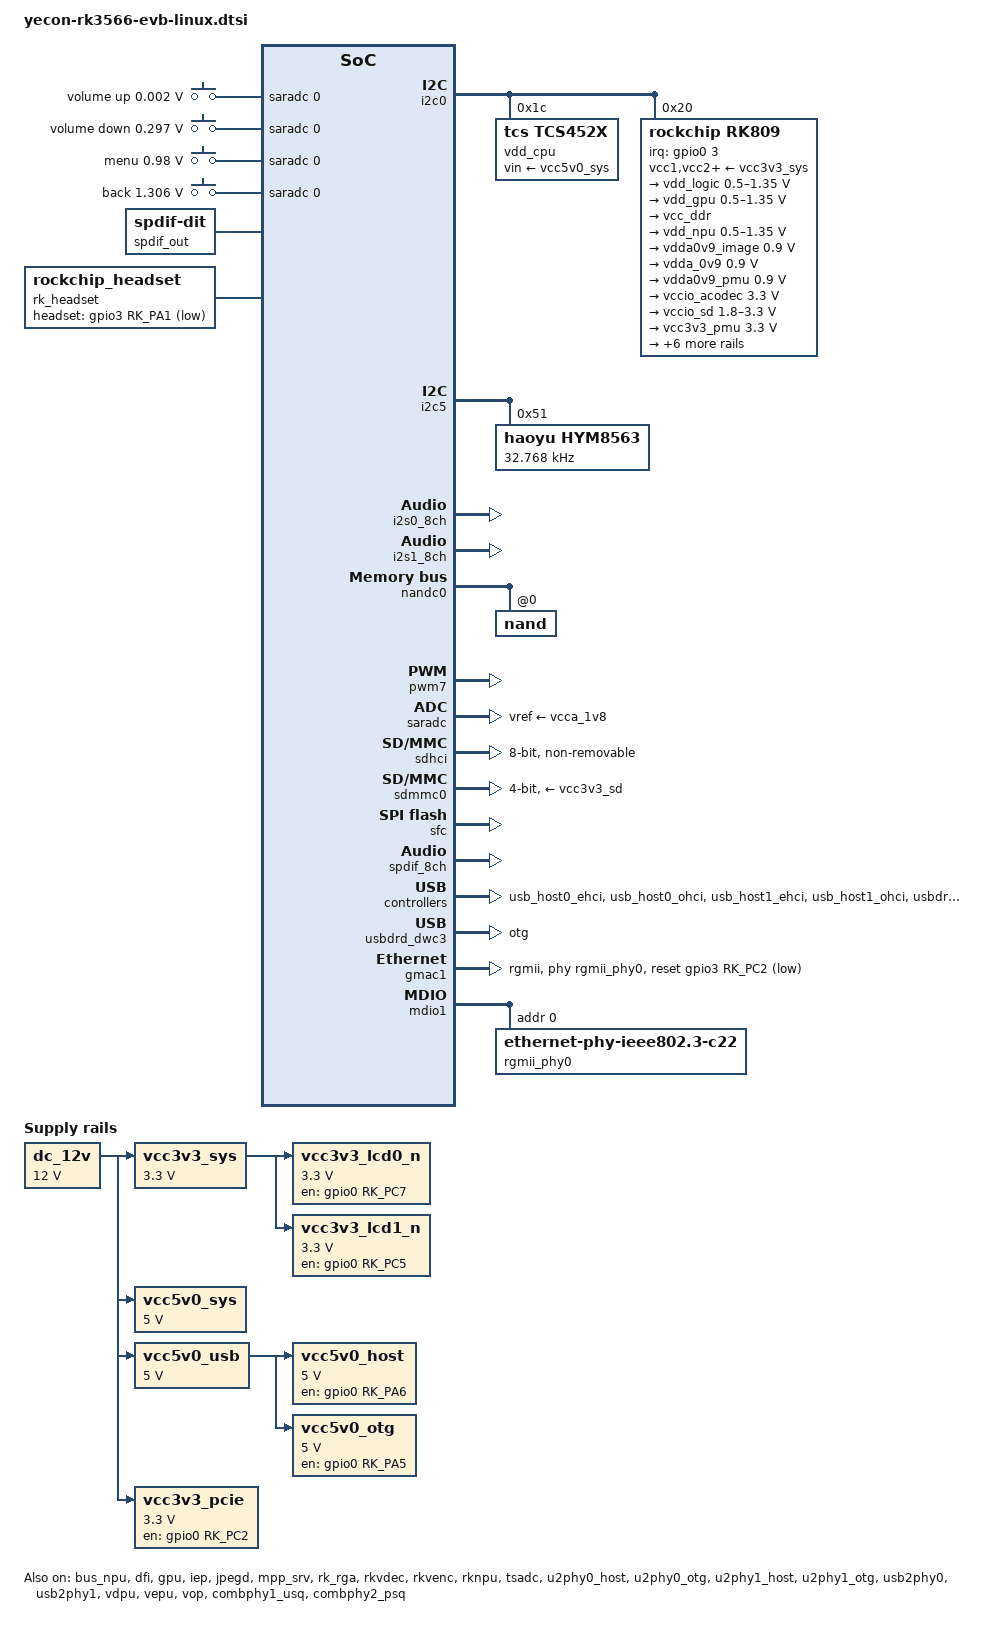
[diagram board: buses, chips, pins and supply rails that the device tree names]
// SPDX-License-Identifier: (GPL-2.0+ OR MIT)
/*
 * Copyright (c) 2020 Rockchip Electronics Co., Ltd.
 *
 */

#include <dt-bindings/gpio/gpio.h>
#include <dt-bindings/pwm/pwm.h>
#include <dt-bindings/pinctrl/rockchip.h>
#include <dt-bindings/input/rk-input.h>
#include <dt-bindings/display/drm_mipi_dsi.h>
#include <dt-bindings/display/media-bus-format.h>
#include <dt-bindings/sensor-dev.h>

/ {
    adc_keys: adc-keys {
		compatible = "adc-keys";
		io-channels = <&saradc 0>;
		io-channel-names = "buttons";
		keyup-threshold-microvolt = <1800000>;
		poll-interval = <100>;

		vol-up-key {
			label = "volume up";
			linux,code = <KEY_VOLUMEUP>;
			press-threshold-microvolt = <1750>;
		};

		vol-down-key {
			label = "volume down";
			linux,code = <KEY_VOLUMEDOWN>;
			press-threshold-microvolt = <297500>;
		};

		menu-key {
			label = "menu";
			linux,code = <KEY_MENU>;
			press-threshold-microvolt = <980000>;
		};

		back-key {
			label = "back";
			linux,code = <KEY_BACK>;
			press-threshold-microvolt = <1305500>;
		};
	};

	dc_12v: dc-12v {
		compatible = "regulator-fixed";
		regulator-name = "dc_12v";
		regulator-always-on;
		regulator-boot-on;
		regulator-min-microvolt = <12000000>;
		regulator-max-microvolt = <12000000>;
	};

	hdmi_sound: hdmi-sound {
		compatible = "simple-audio-card";
		simple-audio-card,format = "i2s";
		simple-audio-card,mclk-fs = <128>;
		simple-audio-card,name = "rockchip,hdmi";
		status = "disabled";

		simple-audio-card,cpu {
				sound-dai = <&i2s0_8ch>;
		};
		simple-audio-card,codec {
				sound-dai = <&hdmi>;
		};
	};

	pdmics: dummy-codec {
		status = "disabled";
		compatible = "rockchip,dummy-codec";
		#sound-dai-cells = <0>;
	};

	pdm_mic_array: pdm-mic-array {
		status = "disabled";
		compatible = "simple-audio-card";
		simple-audio-card,name = "rockchip,pdm-mic-array";
		simple-audio-card,cpu {
			sound-dai = <&pdm>;
		};
		simple-audio-card,codec {
			sound-dai = <&pdmics>;
		};
	};

	rk809_sound: rk809-sound {
		status = "okay";
		compatible = "simple-audio-card";
		simple-audio-card,format = "i2s";
		simple-audio-card,name = "rockchip,rk809-codec";
		simple-audio-card,mclk-fs = <256>;

		simple-audio-card,cpu {
			sound-dai = <&i2s1_8ch>;
		};
		simple-audio-card,codec {
			sound-dai = <&rk809_codec>;
		};
	};

	spdif-sound {
		status = "okay";
		compatible = "simple-audio-card";
		simple-audio-card,name = "ROCKCHIP,SPDIF";
		simple-audio-card,cpu {
				sound-dai = <&spdif_8ch>;
		};
		simple-audio-card,codec {
				sound-dai = <&spdif_out>;
		};
	};

	spdif_out: spdif-out {
		status = "okay";
		compatible = "linux,spdif-dit";
		#sound-dai-cells = <0>;
	};

	vad_sound: vad-sound {
		status = "disabled";
		compatible = "rockchip,multicodecs-card";
		rockchip,card-name = "rockchip,rk3568-vad";
		rockchip,cpu = <&i2s1_8ch>;
		rockchip,codec = <&rk809_codec>, <&vad>;
	};

	vcc3v3_sys: vcc3v3-sys {
		compatible = "regulator-fixed";
		regulator-name = "vcc3v3_sys";
		regulator-always-on;
		regulator-boot-on;
		regulator-min-microvolt = <3300000>;
		regulator-max-microvolt = <3300000>;
		vin-supply = <&dc_12v>;
	};

	vcc5v0_sys: vcc5v0-sys {
		compatible = "regulator-fixed";
		regulator-name = "vcc5v0_sys";
		regulator-always-on;
		regulator-boot-on;
		regulator-min-microvolt = <5000000>;
		regulator-max-microvolt = <5000000>;
		vin-supply = <&dc_12v>;
	};

	vcc5v0_usb: vcc5v0-usb {
		compatible = "regulator-fixed";
		regulator-name = "vcc5v0_usb";
		regulator-always-on;
		regulator-boot-on;
		regulator-min-microvolt = <5000000>;
		regulator-max-microvolt = <5000000>;
		vin-supply = <&dc_12v>;
	};

	vcc5v0_host: vcc5v0-host-regulator {
		compatible = "regulator-fixed";
		regulator-name = "vcc5v0_host";
		regulator-boot-on;
		regulator-always-on;
		regulator-min-microvolt = <5000000>;
		regulator-max-microvolt = <5000000>;
		enable-active-high;
		gpio = <&gpio0 RK_PA6 GPIO_ACTIVE_HIGH>;
		vin-supply = <&vcc5v0_usb>;
		pinctrl-names = "default";
		pinctrl-0 = <&vcc5v0_host_en>;
	};

	vcc5v0_otg: vcc5v0-otg-regulator {
		compatible = "regulator-fixed";
		regulator-name = "vcc5v0_otg";
		regulator-min-microvolt = <5000000>;
		regulator-max-microvolt = <5000000>;
		enable-active-high;
		gpio = <&gpio0 RK_PA5 GPIO_ACTIVE_HIGH>;
		vin-supply = <&vcc5v0_usb>;
		pinctrl-names = "default";
		pinctrl-0 = <&vcc5v0_otg_en>;
	};

	vcc3v3_lcd0_n: vcc3v3-lcd0-n {
		compatible = "regulator-fixed";
		regulator-name = "vcc3v3_lcd0_n";
		regulator-boot-on;
		regulator-min-microvolt = <3300000>;
		regulator-max-microvolt = <3300000>;
		enable-active-high;
		gpio = <&gpio0 RK_PC7 GPIO_ACTIVE_HIGH>;
		vin-supply = <&vcc3v3_sys>;

		regulator-state-mem {
			regulator-off-in-suspend;
		};
	};

	vcc3v3_lcd1_n: vcc3v3-lcd1-n {
		compatible = "regulator-fixed";
		regulator-name = "vcc3v3_lcd1_n";
		regulator-boot-on;
		regulator-min-microvolt = <3300000>;
		regulator-max-microvolt = <3300000>;
		enable-active-high;
		gpio = <&gpio0 RK_PC5 GPIO_ACTIVE_HIGH>;
		vin-supply = <&vcc3v3_sys>;

		regulator-state-mem {
			regulator-off-in-suspend;
		};
	};

	vcc3v3_pcie: vcc3v3-pcie {
		compatible = "regulator-fixed";
		regulator-name = "vcc3v3_pcie";
		regulator-min-microvolt = <3300000>;
		regulator-max-microvolt = <3300000>;
		enable-active-high;
		gpio = <&gpio0 RK_PC2 GPIO_ACTIVE_HIGH>;
		startup-delay-us = <5000>;
		vin-supply = <&dc_12v>;
	};

	rk_headset: rk-headset {
		compatible = "rockchip_headset";
		headset_gpio = <&gpio3 RK_PA1 GPIO_ACTIVE_LOW>;
		pinctrl-names = "default";
		pinctrl-0 = <&hp_det>;
	};
};

&bus_npu {
	bus-supply = <&vdd_logic>;
	pvtm-supply = <&vdd_cpu>;
	status = "okay";
};

&cpu0 {
	cpu-supply = <&vdd_cpu>;
};

/* ddr */
&dmc {
	system-status-freq = <
		/*system status         freq(KHz)*/
		SYS_STATUS_NORMAL       780000
		SYS_STATUS_REBOOT       1056000
		SYS_STATUS_SUSPEND      324000
		SYS_STATUS_VIDEO_1080P  528000
		SYS_STATUS_BOOST        1056000
		SYS_STATUS_ISP          1056000
		SYS_STATUS_PERFORMANCE  1056000
	>;
};

&dmc_opp_table {
	opp-1056000000 {
		opp-hz = /bits/ 64 <1056000000>;
		opp-microvolt = <900000>;
		opp-microvolt-L0 = <900000>;
		opp-microvolt-L1 = <850000>;
	};
	/delete-node/ opp-1560000000;
};

&dmc {
	center-supply = <&vdd_logic>;
	status = "disabled";
};

&dfi {
	status = "okay";
};

&gpu {
	mali-supply = <&vdd_gpu>;
	status = "okay";
};

&i2c0 {
	status = "okay";

	vdd_cpu: tcs4525@1c {
		compatible = "tcs,tcs452x";
		reg = <0x1c>;
		vin-supply = <&vcc5v0_sys>;
		regulator-compatible = "fan53555-reg";
		regulator-name = "vdd_cpu";
		regulator-min-microvolt = <712500>;
		regulator-max-microvolt = <1390000>;
		regulator-init-microvolt = <900000>;
		regulator-ramp-delay = <2300>;
		fcs,suspend-voltage-selector = <1>;
		regulator-boot-on;
		regulator-always-on;
		regulator-state-mem {
			regulator-off-in-suspend;
		};
	};

	rk809: pmic@20 {
		compatible = "rockchip,rk809";
		reg = <0x20>;
		interrupt-parent = <&gpio0>;
		interrupts = <3 IRQ_TYPE_LEVEL_LOW>;

		pinctrl-names = "default", "pmic-sleep",
				"pmic-power-off", "pmic-reset";
		pinctrl-0 = <&pmic_int>;
		pinctrl-1 = <&soc_slppin_slp>, <&rk817_slppin_slp>;
		pinctrl-2 = <&soc_slppin_gpio>, <&rk817_slppin_pwrdn>;
		pinctrl-3 = <&soc_slppin_gpio>, <&rk817_slppin_rst>;

		rockchip,system-power-controller;
		wakeup-source;
		#clock-cells = <1>;
		clock-output-names = "rk808-clkout1", "rk808-clkout2";
		//fb-inner-reg-idxs = <2>;
		/* 1: rst regs (default in codes), 0: rst the pmic */
		pmic-reset-func = <0>;
		/* not save the PMIC_POWER_EN register in uboot */
		not-save-power-en = <1>;

		vcc1-supply = <&vcc3v3_sys>;
		vcc2-supply = <&vcc3v3_sys>;
		vcc3-supply = <&vcc3v3_sys>;
		vcc4-supply = <&vcc3v3_sys>;
		vcc5-supply = <&vcc3v3_sys>;
		vcc6-supply = <&vcc3v3_sys>;
		vcc7-supply = <&vcc3v3_sys>;
		vcc8-supply = <&vcc3v3_sys>;
		vcc9-supply = <&vcc3v3_sys>;

		pwrkey {
			status = "okay";
		};

		pinctrl_rk8xx: pinctrl_rk8xx {
			gpio-controller;
			#gpio-cells = <2>;

			rk817_slppin_null: rk817_slppin_null {
				pins = "gpio_slp";
				function = "pin_fun0";
			};

			rk817_slppin_slp: rk817_slppin_slp {
				pins = "gpio_slp";
				function = "pin_fun1";
			};

			rk817_slppin_pwrdn: rk817_slppin_pwrdn {
				pins = "gpio_slp";
				function = "pin_fun2";
			};

			rk817_slppin_rst: rk817_slppin_rst {
				pins = "gpio_slp";
				function = "pin_fun3";
			};
		};

		regulators {
			vdd_logic: DCDC_REG1 {
				regulator-always-on;
				regulator-boot-on;
				regulator-min-microvolt = <500000>;
				regulator-max-microvolt = <1350000>;
				regulator-init-microvolt = <900000>;
				regulator-ramp-delay = <6001>;
				regulator-initial-mode = <0x2>;
				regulator-name = "vdd_logic";
				regulator-state-mem {
					regulator-off-in-suspend;
				};
			};

			vdd_gpu: DCDC_REG2 {
				regulator-always-on;
				regulator-boot-on;
				regulator-min-microvolt = <500000>;
				regulator-max-microvolt = <1350000>;
				regulator-init-microvolt = <900000>;
				regulator-ramp-delay = <6001>;
				regulator-initial-mode = <0x2>;
				regulator-name = "vdd_gpu";
				regulator-state-mem {
					regulator-off-in-suspend;
				};
			};

			vcc_ddr: DCDC_REG3 {
				regulator-always-on;
				regulator-boot-on;
				regulator-initial-mode = <0x2>;
				regulator-name = "vcc_ddr";
				regulator-state-mem {
					regulator-on-in-suspend;
				};
			};

			vdd_npu: DCDC_REG4 {
				regulator-always-on;
				regulator-boot-on;
				regulator-min-microvolt = <500000>;
				regulator-max-microvolt = <1350000>;
				regulator-init-microvolt = <900000>;
				regulator-ramp-delay = <6001>;
				regulator-initial-mode = <0x2>;
				regulator-name = "vdd_npu";
				regulator-state-mem {
					regulator-off-in-suspend;
				};
			};

			vdda0v9_image: LDO_REG1 {
				regulator-boot-on;
				regulator-always-on;
				regulator-min-microvolt = <900000>;
				regulator-max-microvolt = <900000>;
				regulator-name = "vdda0v9_image";
				regulator-state-mem {
					regulator-off-in-suspend;
				};
			};

			vdda_0v9: LDO_REG2 {
				regulator-always-on;
				regulator-boot-on;
				regulator-min-microvolt = <900000>;
				regulator-max-microvolt = <900000>;
				regulator-name = "vdda_0v9";
				regulator-state-mem {
					regulator-off-in-suspend;
				};
			};

			vdda0v9_pmu: LDO_REG3 {
				regulator-always-on;
				regulator-boot-on;
				regulator-min-microvolt = <900000>;
				regulator-max-microvolt = <900000>;
				regulator-name = "vdda0v9_pmu";
				regulator-state-mem {
					regulator-on-in-suspend;
					regulator-suspend-microvolt = <900000>;
				};
			};

			vccio_acodec: LDO_REG4 {
				regulator-always-on;
				regulator-boot-on;
				regulator-min-microvolt = <3300000>;
				regulator-max-microvolt = <3300000>;
				regulator-name = "vccio_acodec";
				regulator-state-mem {
					regulator-off-in-suspend;
				};
			};

			vccio_sd: LDO_REG5 {
				regulator-always-on;
				regulator-boot-on;
				regulator-min-microvolt = <1800000>;
				regulator-max-microvolt = <3300000>;
				regulator-name = "vccio_sd";
				regulator-state-mem {
					regulator-off-in-suspend;
				};
			};

			vcc3v3_pmu: LDO_REG6 {
				regulator-always-on;
				regulator-boot-on;
				regulator-min-microvolt = <3300000>;
				regulator-max-microvolt = <3300000>;
				regulator-name = "vcc3v3_pmu";
				regulator-state-mem {
					regulator-on-in-suspend;
					regulator-suspend-microvolt = <3300000>;
				};
			};

			vcca_1v8: LDO_REG7 {
				regulator-always-on;
				regulator-boot-on;
				regulator-min-microvolt = <1800000>;
				regulator-max-microvolt = <1800000>;
				regulator-name = "vcca_1v8";
				regulator-state-mem {
					regulator-off-in-suspend;
				};
			};

			vcca1v8_pmu: LDO_REG8 {
				regulator-always-on;
				regulator-boot-on;
				regulator-min-microvolt = <1800000>;
				regulator-max-microvolt = <1800000>;
				regulator-name = "vcca1v8_pmu";
				regulator-state-mem {
					regulator-on-in-suspend;
					regulator-suspend-microvolt = <1800000>;
				};
			};

			vcca1v8_image: LDO_REG9 {
				regulator-always-on;
				regulator-boot-on;
				regulator-min-microvolt = <1800000>;
				regulator-max-microvolt = <1800000>;
				regulator-name = "vcca1v8_image";
				regulator-state-mem {
					regulator-off-in-suspend;
				};
			};

			vcc_1v8: DCDC_REG5 {
				regulator-always-on;
				regulator-boot-on;
				regulator-min-microvolt = <1800000>;
				regulator-max-microvolt = <1800000>;
				regulator-name = "vcc_1v8";
				regulator-state-mem {
					regulator-off-in-suspend;
				};
			};

			vcc_3v3: SWITCH_REG1 {
				regulator-always-on;
				regulator-boot-on;
				regulator-name = "vcc_3v3";
				regulator-state-mem {
					regulator-off-in-suspend;
				};
			};

			vcc3v3_sd: SWITCH_REG2 {
				regulator-always-on;
				regulator-boot-on;
				regulator-name = "vcc3v3_sd";
				regulator-state-mem {
					regulator-off-in-suspend;
				};
			};
		};

		rk809_codec: codec {
			#sound-dai-cells = <0>;
			compatible = "rockchip,rk809-codec", "rockchip,rk817-codec";
			clocks = <&cru I2S1_MCLKOUT>;
			clock-names = "mclk";
			assigned-clocks = <&cru I2S1_MCLKOUT>, <&cru I2S1_MCLK_TX_IOE>;
			assigned-clock-rates = <12288000>;
			assigned-clock-parents = <&cru I2S1_MCLKOUT_TX>, <&cru I2S1_MCLKOUT_TX>;
			//spk-ctl-gpios = <&gpio2 RK_PC1 GPIO_ACTIVE_HIGH>;
			pinctrl-names = "default";
			pinctrl-0 = <&i2s1m0_mclk>;
			hp-volume = <20>;
			spk-volume = <3>;
			mic-in-differential;
			status = "okay";
		};
	};
};

&i2c5 {
	status = "okay";

	psensor: vl53l0x@29 {
		status = "disabled";
		compatible = "ps_vl53l0x";
		reg = <0x29>;
		type = <SENSOR_TYPE_PROXIMITY>;
		//reset-gpio = <&gpio2 RK_PA4 GPIO_ACTIVE_HIGH>;
		//irq-gpio = <&gpio3 2 IRQ_TYPE_EDGE_FALLING>;
		irq_enable = <0>;
		poll_delay_ms = <30>;
	};

	lsensor: ltr553@23{
		status = "disabled";
		compatible = "light_ltr553";
		reg = <0x23>;
		type = <SENSOR_TYPE_LIGHT>;
		poll_delay_ms = <30>;
	};

    hym8563: hym8563@51 {
		status = "okay";
		compatible = "haoyu,hym8563";
		reg = <0x51>;
		#clock-cells = <0>;
		//rtc-irq-gpio = <&gpio0 RK_PC0 IRQ_TYPE_EDGE_FALLING>;
		clock-frequency = <32768>;
		clock-output-names = "xin32k";
		/* rtc_int is not connected */
	};

    mxc6655xa: mxc6655xa@15 {
		status = "disabled";
		compatible = "gs_mxc6655xa";
		pinctrl-names = "default";
		pinctrl-0 = <&mxc6655xa_irq_gpio>;
		reg = <0x15>;
		irq-gpio = <&gpio3 RK_PA2 IRQ_TYPE_LEVEL_LOW>;
		irq_enable = <0>;
		poll_delay_ms = <30>;
		type = <SENSOR_TYPE_ACCEL>;
		power-off-in-suspend = <1>;
		layout = <1>;
	};
};

&i2s0_8ch {
	status = "okay";
};

&i2s1_8ch {
	status = "okay";
	rockchip,clk-trcm = <1>;
	pinctrl-names = "default";
	pinctrl-0 = <&i2s1m0_sclktx
		     &i2s1m0_lrcktx
		     &i2s1m0_sdi0
		     &i2s1m0_sdo0>;
};

&iep {
	status = "okay";
};

&iep_mmu {
	status = "okay";
};

&jpegd {
	status = "okay";
};

&jpegd_mmu {
	status = "okay";
};

&mpp_srv {
	status = "okay";
};

&nandc0 {
	#address-cells = <1>;
	#size-cells = <0>;
	status = "okay";

	nand@0 {
		reg = <0>;
		nand-bus-width = <8>;
		nand-ecc-mode = "hw";
		nand-ecc-strength = <16>;
		nand-ecc-step-size = <1024>;
	};
};

/*
  * There are 10 independent IO domains in RK3566/RK3568, including PMUIO[0:2] and VCCIO[1:7].
  * 1/ PMUIO0 and PMUIO1 are fixed-level power domains which cannot be configured;
  * 2/ PMUIO2 and VCCIO1,VCCIO[3:7] domains require that their hardware power supply voltages
  *    must be consistent with the software configuration correspondingly
  *	a/ When the hardware IO level is connected to 1.8V, the software voltage configuration
  *	   should also be configured to 1.8V accordingly;
  *	b/ When the hardware IO level is connected to 3.3V, the software voltage configuration
  *	   should also be configured to 3.3V accordingly;
  * 3/ VCCIO2 voltage control selection (0xFDC20140)
  *	BIT[0]: 0x0: from GPIO_0A7 (default)
  *	BIT[0]: 0x1: from GRF
  *    Default is determined by Pin FLASH_VOL_SEL/GPIO0_A7:
  *	L:VCCIO2 must supply 3.3V
  *	H:VCCIO2 must supply 1.8V
  */
&pmu_io_domains {
	status = "okay";
	pmuio2-supply = <&vcca1v8_pmu>;
	vccio1-supply = <&vccio_acodec>;
	vccio3-supply = <&vccio_sd>;
	vccio4-supply = <&vcc_1v8>;
	vccio5-supply = <&vcc_3v3>;
	vccio6-supply = <&vcc_1v8>;
	vccio7-supply = <&vcc_3v3>;
};

&pwm7 {
	status = "okay";

	compatible = "rockchip,remotectl-pwm";
	interrupts = <GIC_SPI 83 IRQ_TYPE_LEVEL_HIGH>;
	remote_pwm_id = <3>;
	handle_cpu_id = <1>;
	remote_support_psci = <0>;
	pinctrl-names = "default";
	pinctrl-0 = <&pwm7_pins>;

	ir_key1 {
		rockchip,usercode = <0x4040>;
		rockchip,key_table =
			<0xf2	KEY_REPLY>,
			<0xba	KEY_BACK>,
			<0xf4	KEY_UP>,
			<0xf1	KEY_DOWN>,
			<0xef	KEY_LEFT>,
			<0xee	KEY_RIGHT>,
			<0xbd	KEY_HOME>,
			<0xea	KEY_VOLUMEUP>,
			<0xe3	KEY_VOLUMEDOWN>,
			<0xe2	KEY_SEARCH>,
			<0xb2	KEY_POWER>,
			<0xbc	KEY_MUTE>,
			<0xec	KEY_MENU>,
			<0xbf	0x190>,
			<0xe0	0x191>,
			<0xe1	0x192>,
			<0xe9	183>,
			<0xe6	248>,
			<0xe8	185>,
			<0xe7	186>,
			<0xf0	388>,
			<0xbe	0x175>;
	};

	ir_key2 {
		rockchip,usercode = <0xff00>;
		rockchip,key_table =
			<0xf9	KEY_HOME>,
			<0xbf	KEY_BACK>,
			<0xfb	KEY_MENU>,
			<0xaa	KEY_REPLY>,
			<0xb9	KEY_UP>,
			<0xe9	KEY_DOWN>,
			<0xb8	KEY_LEFT>,
			<0xea	KEY_RIGHT>,
			<0xeb	KEY_VOLUMEDOWN>,
			<0xef	KEY_VOLUMEUP>,
			<0xf7	KEY_MUTE>,
			<0xe7	KEY_POWER>,
			<0xfc	KEY_POWER>,
			<0xa9	KEY_VOLUMEDOWN>,
			<0xa8	KEY_VOLUMEDOWN>,
			<0xe0	KEY_VOLUMEDOWN>,
			<0xa5	KEY_VOLUMEDOWN>,
			<0xab	183>,
			<0xb7	388>,
			<0xe8	388>,
			<0xf8	184>,
			<0xaf	185>,
			<0xed	KEY_VOLUMEDOWN>,
			<0xee	186>,
			<0xb3	KEY_VOLUMEDOWN>,
			<0xf1	KEY_VOLUMEDOWN>,
			<0xf2	KEY_VOLUMEDOWN>,
			<0xf3	KEY_SEARCH>,
			<0xb4	KEY_VOLUMEDOWN>,
			<0xbe	KEY_SEARCH>;
	};

	ir_key3 {
		rockchip,usercode = <0x1dcc>;
		rockchip,key_table =
			<0xee	KEY_REPLY>,
			<0xf0	KEY_BACK>,
			<0xf8	KEY_UP>,
			<0xbb	KEY_DOWN>,
			<0xef	KEY_LEFT>,
			<0xed	KEY_RIGHT>,
			<0xfc	KEY_HOME>,
			<0xf1	KEY_VOLUMEUP>,
			<0xfd	KEY_VOLUMEDOWN>,
			<0xb7	KEY_SEARCH>,
			<0xff	KEY_POWER>,
			<0xf3	KEY_MUTE>,
			<0xbf	KEY_MENU>,
			<0xf9	0x191>,
			<0xf5	0x192>,
			<0xb3	388>,
			<0xbe	KEY_1>,
			<0xba	KEY_2>,
			<0xb2	KEY_3>,
			<0xbd	KEY_4>,
			<0xf9	KEY_5>,
			<0xb1	KEY_6>,
			<0xfc	KEY_7>,
			<0xf8	KEY_8>,
			<0xb0	KEY_9>,
			<0xb6	KEY_0>,
			<0xb5	KEY_BACKSPACE>;
	};
};

&rk_rga {
	status = "okay";
};

&rkvdec {
	status = "okay";
};

&rkvdec_mmu {
	status = "okay";
};

&rkvenc {
	venc-supply = <&vdd_logic>;
	status = "okay";
};

&rkvenc_mmu {
	status = "okay";
};

&rknpu {
	status = "okay";
	//memory-region = <&rknpu_reserved>;
	rknpu-supply = <&vdd_npu>;
};

&rknpu_mmu {
	status = "okay";
};

&saradc {
	status = "okay";
	vref-supply = <&vcca_1v8>;
};

&sdhci {
	status = "okay";
	bus-width = <8>;
	supports-emmc;
	non-removable;
	//rockchip,txclk-tapnum = <0x8>;
	max-frequency = <200000000>;
};

/* sd card */
&sdmmc0 {
	status = "okay";
	max-frequency = <150000000>;
	supports-sd;
	bus-width = <4>;
	cap-mmc-highspeed;
	cap-sd-highspeed;
	disable-wp;
	sd-uhs-sdr104;
	vmmc-supply = <&vcc3v3_sd>;
	vqmmc-supply = <&vccio_sd>;
	pinctrl-names = "default";
	pinctrl-0 = <&sdmmc0_bus4 &sdmmc0_clk &sdmmc0_cmd &sdmmc0_det>;
};

&sdmmc2 {
	status = "disabled";
};

&sfc {
	status = "okay";
};

&spdif_8ch {
	status = "okay";
	pinctrl-names = "default";
	pinctrl-0 = <&spdifm1_tx>;
};

&tsadc {
	status = "okay";
};

&u2phy0_host {
	phy-supply = <&vcc5v0_host>;
	status = "okay";
};

&u2phy0_otg {
	vbus-supply = <&vcc5v0_otg>;
	status = "okay";
};

&u2phy1_host {
	phy-supply = <&vcc5v0_host>;
	status = "okay";
};

&u2phy1_otg {
	phy-supply = <&vcc5v0_host>;
	status = "okay";
};

&usb2phy0 {
	status = "okay";
};

&usb2phy1 {
	status = "okay";
};

&usb_host0_ehci {
	status = "okay";
};

&usb_host0_ohci {
	status = "okay";
};

&usb_host1_ehci {
	status = "okay";
};

&usb_host1_ohci {
	status = "okay";
};

&usbdrd_dwc3 {
	dr_mode = "otg";
	extcon = <&usb2phy0>;
	status = "okay";
};

&usbdrd30 {
	status = "okay";
};

&usbhost_dwc3 {
	status = "okay";
};

&usbhost30 {
	status = "okay";
};

&vad {
	rockchip,audio-src = <&i2s1_8ch>;
	rockchip,buffer-time-ms = <128>;
	rockchip,det-channel = <0>;
	rockchip,mode = <0>;
};

&vdpu {
	status = "okay";
};

&vdpu_mmu {
	status = "okay";
};

&vepu {
	status = "okay";
};

&vepu_mmu {
	status = "okay";
};

&vop {
	status = "okay";
	assigned-clocks = <&cru DCLK_VOP0>, <&cru DCLK_VOP1>;
	assigned-clock-parents = <&pmucru PLL_HPLL>, <&cru PLL_VPLL>;
};

&vop_mmu {
	status = "okay";
};

&gmac1 {
	status = "okay";
	phy-mode = "rgmii";
	clock_in_out = "input";

	snps,reset-gpio = <&gpio3 RK_PC2 GPIO_ACTIVE_LOW>;
	snps,reset-active-low;
	/* Reset time is 20ms, 100ms for rtl8211f */
	snps,reset-delays-us = <0 20000 100000>;

	assigned-clocks = <&cru SCLK_GMAC1_RX_TX>, <&cru SCLK_GMAC1>;
	assigned-clock-parents = <&cru SCLK_GMAC1_RGMII_SPEED>, <&cru CLK_MAC1_2TOP>;
	assigned-clock-rates = <0>, <125000000>;

	pinctrl-names = "default";
	pinctrl-0 = <&gmac1m1_miim
		     &gmac1m1_tx_bus2
		     &gmac1m1_rx_bus2
		     &gmac1m1_rgmii_clk
		     &gmac1m1_rgmii_bus>;

	tx_delay = <0x4f>;
	rx_delay = <0x25>;

	phy-handle = <&rgmii_phy0>;
};

&mdio1 {
	rgmii_phy0: phy@0 {
		compatible = "ethernet-phy-ieee802.3-c22";
		reg = <0x0>;
	};
};

&pcie2x1 {
	reset-gpios = <&gpio3 RK_PB7 GPIO_ACTIVE_HIGH>;
	vpcie3v3-supply = <&vcc3v3_pcie>;
	status = "disabled";
};

&combphy1_usq {
	status = "okay";
};

&combphy2_psq {
	status = "okay";
};

&pinctrl {

    mxc6655xa {
		mxc6655xa_irq_gpio: mxc6655xa_irq_gpio {
			rockchip,pins = <3 RK_PA2 RK_FUNC_GPIO &pcfg_pull_none>;
		};
	};

	pmic {
		pmic_int: pmic_int {
			rockchip,pins =
				<0 RK_PA3 RK_FUNC_GPIO &pcfg_pull_up>;
		};

		soc_slppin_gpio: soc_slppin_gpio {
			rockchip,pins =
				<0 RK_PA2 RK_FUNC_GPIO &pcfg_output_low_pull_down>;
		};

		soc_slppin_slp: soc_slppin_slp {
			rockchip,pins =
				<0 RK_PA2 1 &pcfg_pull_up>;
		};

		soc_slppin_rst: soc_slppin_rst {
			rockchip,pins =
				<0 RK_PA2 2 &pcfg_pull_none>;
		};
	};

	usb {
		vcc5v0_host_en: vcc5v0-host-en {
			rockchip,pins = <0 RK_PA6 RK_FUNC_GPIO &pcfg_pull_none>;
		};

		vcc5v0_otg_en: vcc5v0-otg-en {
			rockchip,pins = <0 RK_PA5 RK_FUNC_GPIO &pcfg_pull_none>;
		};
	};

	headphone {
		hp_det: hp-det {
			rockchip,pins = <3 RK_PA1 RK_FUNC_GPIO &pcfg_pull_down>;
		};
	};
};
